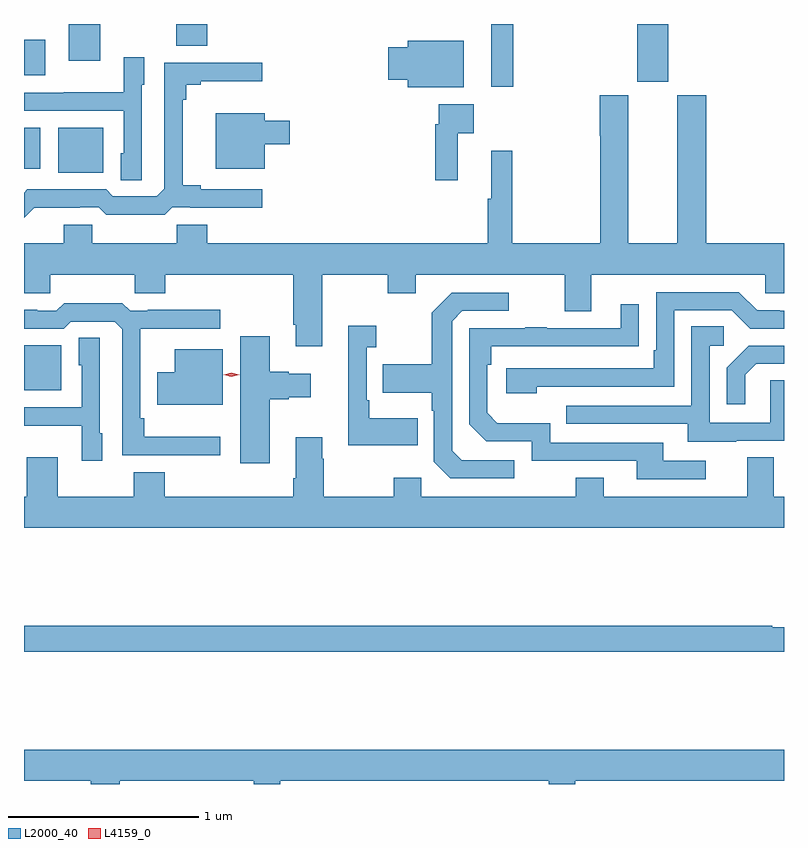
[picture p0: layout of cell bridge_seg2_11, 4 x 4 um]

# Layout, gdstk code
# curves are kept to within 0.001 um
import gdstk
lib = gdstk.Library(unit=1e-6, precision=1e-09)
def R(c, l, rs):  # rectangles x0, y0, x1, y1
    for r in rs: c.add(gdstk.rectangle(r[:2], r[2:], *l))
def P(c, l, *ps):  # polygons
    for p in ps: c.add(gdstk.Polygon(p, *l))
L2000_40 = (2000, 40)
L4159_0 = (4159, 0)

bridge_seg2_11 = lib.new_cell('bridge_seg2_11')
R(bridge_seg2_11, L2000_40, [(688.365,615.059,688.561,615.295), (688.544,616.205,688.783,616.441), (688.365,616.226,688.45,616.441), (690.824,616.656,690.941,616.987), (691.592,616.683,691.756,616.987), (688.365,616.716,688.477,616.903), (688.601,616.794,688.765,616.987), (689.165,616.872,689.329,616.987)])
P(bridge_seg2_11, L2000_40, [(690.679,616.9),(690.386,616.9),(690.386,616.864),(690.281,616.864),(690.281,616.694),(690.386,616.694),(690.386,616.655),(690.679,616.655)],
  [(688.986,616.668),(688.999,616.668),(688.999,616.813),(688.89,616.813),(688.89,616.627),(688.573,616.627),(688.573,616.626),(688.365,616.626),(688.365,616.53),(688.89,616.53),(688.89,616.308),(688.874,616.308),(688.874,616.165),(688.986,616.165)],
  [(688.418,616.019),(688.658,616.019),(688.658,616.023),(688.758,616.023),(688.798,615.984),(689.105,615.984),(689.145,616.023),(689.239,616.023),(689.239,616.019),(689.62,616.019),(689.62,616.116),(689.296,616.116),(689.296,616.139),(689.2,616.139),(689.2,616.589),(689.219,616.589),(689.219,616.666),(689.296,616.666),(689.296,616.685),(689.62,616.685),(689.62,616.782),(689.103,616.782),(689.103,616.119),(689.064,616.08),(688.833,616.08),(688.797,616.116),(688.383,616.116),(688.365,616.098),(688.365,615.966)],
  [(689.935,615.668),(690.28,615.668),(690.28,615.569),(690.427,615.569),(690.427,615.668),(691.211,615.668),(691.211,615.474),(691.351,615.474),(691.351,615.668),(692.265,615.668),(692.265,615.57),(692.365,615.57),(692.365,615.832),(691.955,615.832),(691.955,616.611),(691.802,616.611),(691.802,615.832),(691.546,615.832),(691.546,616.611),(691.394,616.611),(691.394,616.399),(691.399,616.399),(691.399,615.832),(690.934,615.832),(690.934,616.321),(690.824,616.321),(690.824,616.068),(690.805,616.068),(690.805,615.832),(689.33,615.832),(689.33,615.93),(689.17,615.93),(689.17,615.832),(688.725,615.832),(688.725,615.93),(688.574,615.93),(688.574,615.832),(688.365,615.832),(688.365,615.57),(688.503,615.57),(688.503,615.668),(688.948,615.668),(688.948,615.57),(689.108,615.57),(689.108,615.668),(689.783,615.668),(689.783,615.403),(689.795,615.403),(689.795,615.291),(689.935,615.291)],
  [(690.647,616.412),(690.733,616.412),(690.733,616.564),(690.549,616.564),(690.549,616.46),(690.529,616.46),(690.529,616.164),(690.647,616.164)],
  [(689.632,616.355),(689.764,616.355),(689.764,616.477),(689.632,616.477),(689.632,616.516),(689.375,616.516),(689.375,616.226),(689.632,616.226)],
  [(691.064,615.078),(691.788,615.078),(691.788,615.48),(692.091,615.48),(692.187,615.384),(692.365,615.384),(692.365,615.477),(692.342,615.477),(692.342,615.48),(692.223,615.48),(692.127,615.576),(691.692,615.576),(691.692,615.271),(691.679,615.271),(691.679,615.174),(690.903,615.174),(690.903,615.044),(691.064,615.044)],
  [(690.946,614.691),(690.669,614.691),(690.618,614.742),(690.618,615.423),(690.672,615.477),(690.916,615.477),(690.916,615.573),(690.615,615.573),(690.51,615.467),(690.51,615.195),(690.253,615.195),(690.253,615.047),(690.51,615.047),(690.51,614.951),(690.522,614.951),(690.522,614.682),(690.609,614.595),(690.946,614.595)],
  [(689.398,614.815),(688.997,614.815),(688.997,614.911),(688.977,614.911),(688.977,615.384),(689.398,615.384),(689.398,615.482),(689.017,615.482),(689.017,615.477),(688.923,615.477),(688.883,615.517),(688.576,615.517),(688.536,615.477),(688.436,615.477),(688.436,615.482),(688.365,615.482),(688.365,615.384),(688.575,615.384),(688.611,615.42),(688.842,615.42),(688.881,615.381),(688.881,614.718),(689.398,614.718)],
  [(691.954,614.688),(691.729,614.688),(691.729,614.784),(691.134,614.784),(691.134,614.887),(690.857,614.887),(690.804,614.94),(690.804,615.194),(690.824,615.194),(690.824,615.291),(691.601,615.292),(691.601,615.511),(691.505,615.511),(691.505,615.387),(691.115,615.387),(691.115,615.392),(691.003,615.392),(691.003,615.387),(690.708,615.387),(690.708,614.88),(690.798,614.79),(691.038,614.79),(691.038,614.688),(691.589,614.688),(691.589,614.592),(691.954,614.592)],
  [(690.437,614.911),(690.181,614.911),(690.181,615.007),(690.168,615.007),(690.168,615.287),(690.22,615.287),(690.22,615.4),(690.071,615.4),(690.071,614.771),(690.437,614.771)],
  [(692.113,614.793),(692.365,614.793),(692.365,615.113),(692.292,615.113),(692.292,614.889),(691.974,614.889),(691.974,615.294),(692.047,615.294),(692.047,615.395),(691.878,615.395),(691.878,614.979),(691.219,614.979),(691.219,614.883),(691.859,614.883),(691.859,614.789),(692.113,614.789)],
  [(689.659,615.011),(689.759,615.011),(689.759,615.023),(689.875,615.023),(689.875,615.145),(689.759,615.145),(689.759,615.158),(689.659,615.158),(689.659,615.343),(689.504,615.343),(689.504,614.676),(689.659,614.676)],
  [(688.777,614.832),(688.764,614.832),(688.764,615.335),(688.652,615.335),(688.652,615.192),(688.668,615.192),(688.668,614.97),(688.365,614.97),(688.365,614.873),(688.668,614.873),(688.668,614.688),(688.777,614.688)],
  [(692.161,615.141),(692.218,615.198),(692.365,615.198),(692.365,615.294),(692.18,615.294),(692.064,615.178),(692.064,614.985),(692.161,614.985)],
  [(689.41,615.274),(689.159,615.274),(689.159,615.154),(689.066,615.154),(689.066,614.984),(689.41,614.984)],
  [(692.365,614.5),(692.311,614.5),(692.311,614.708),(692.171,614.708),(692.171,614.5),(691.417,614.5),(691.417,614.599),(691.27,614.599),(691.27,614.5),(690.456,614.5),(690.456,614.599),(690.31,614.599),(690.31,614.5),(689.943,614.5),(689.943,614.699),(689.935,614.699),(689.935,614.812),(689.795,614.812),(689.795,614.596),(689.783,614.596),(689.783,614.5),(689.107,614.5),(689.107,614.629),(688.943,614.629),(688.943,614.5),(688.543,614.5),(688.543,614.707),(688.379,614.707),(688.379,614.5),(688.365,614.5),(688.365,614.336),(692.365,614.336)],
  [(692.365,613.813),(692.302,613.813),(692.302,613.82),(688.365,613.82),(688.365,613.684),(692.365,613.684)],
  [(688.868,613.004),(689.573,613.004),(689.573,612.987),(689.713,612.987),(689.713,613.004),(691.127,613.004),(691.127,612.987),(691.267,612.987),(691.267,613.004),(692.365,613.004),(692.365,613.168),(688.365,613.168),(688.365,613.004),(688.715,613.004),(688.715,612.987),(688.868,612.987)])
P(bridge_seg2_11, L4159_0, [(689.457,615.131),(689.416,615.141),(689.416,615.141),(689.416,615.142),(689.457,615.151),(689.498,615.142),(689.498,615.141),(689.498,615.141)])

lib.write_gds('bridge_seg2_11.gds')
